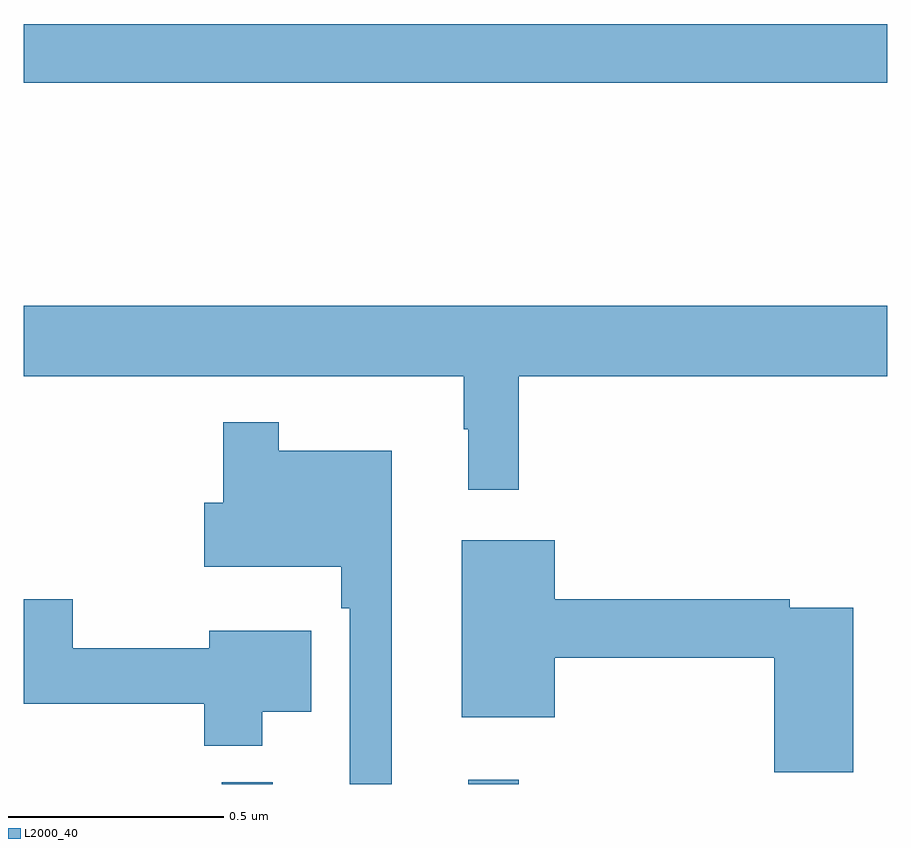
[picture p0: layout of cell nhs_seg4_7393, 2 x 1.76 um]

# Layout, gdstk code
import gdstk
lib = gdstk.Library(unit=1e-6, precision=1e-09)
def R(c, l, rs):  # rectangles x0, y0, x1, y1
    for r in rs: c.add(gdstk.rectangle(r[:2], r[2:], *l))
def P(c, l, *ps):  # polygons
    for p in ps: c.add(gdstk.Polygon(p, *l))
L2000_40 = (2000, 40)

nhs_seg4_7393 = lib.new_cell('nhs_seg4_7393')
R(nhs_seg4_7393, L2000_40, [(202.459,771.9,202.577,771.904), (203.03,771.9,203.147,771.91), (202,773.524,204,773.66)])
P(nhs_seg4_7393, L2000_40, [(203.147,772.844),(204,772.844),(204,773.008),(202,773.008),(202,772.844),(203.019,772.844),(203.019,772.721),(203.03,772.721),(203.03,772.581),(203.147,772.581)],
  [(202.852,772.672),(202.591,772.672),(202.591,772.738),(202.462,772.738),(202.462,772.551),(202.418,772.551),(202.418,772.403),(202.735,772.403),(202.735,772.307),(202.755,772.307),(202.755,771.9),(202.852,771.9)],
  [(203.921,772.308),(203.774,772.308),(203.774,772.328),(203.23,772.328),(203.23,772.465),(203.015,772.465),(203.015,772.055),(203.23,772.055),(203.23,772.192),(203.738,772.192),(203.738,771.927),(203.921,771.927)],
  [(202.552,772.067),(202.666,772.067),(202.666,772.255),(202.43,772.255),(202.43,772.214),(202.114,772.214),(202.114,772.328),(202,772.328),(202,772.086),(202.418,772.086),(202.418,771.989),(202.552,771.989)])

lib.write_gds('nhs_seg4_7393.gds')
